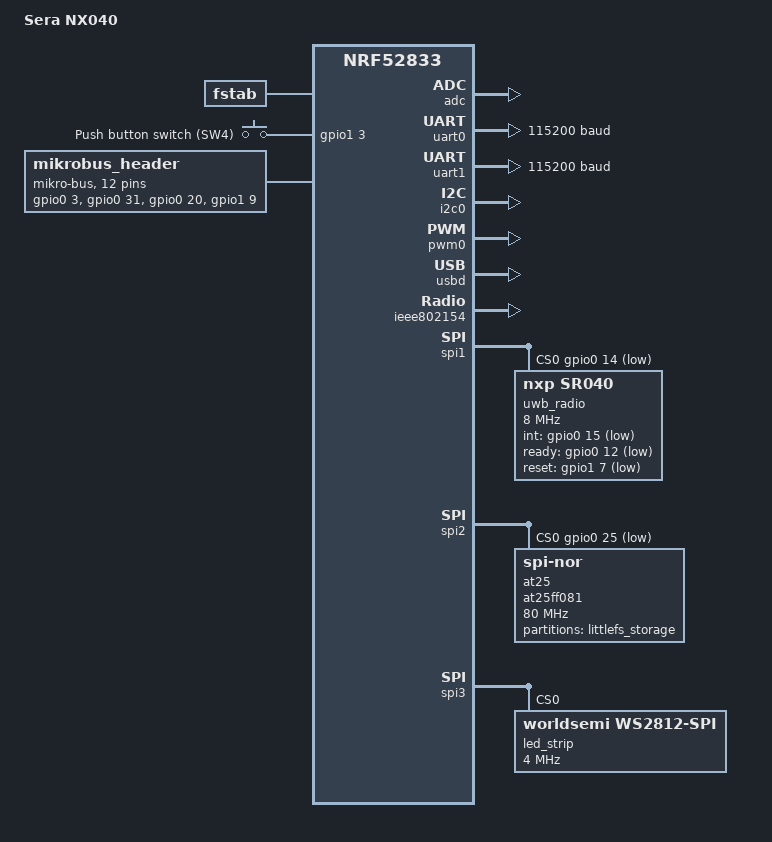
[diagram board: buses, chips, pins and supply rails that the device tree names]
/*
 * Copyright (c) 2020 Laird Connectivity
 *
 * SPDX-License-Identifier: Apache-2.0
 */

/dts-v1/;
#include <zephyr/dt-bindings/led/led.h>
#include <nordic/nrf52833_qiaa.dtsi>
#include "sera_nx040_dvk-pinctrl.dtsi"

/ {
	model = "Sera NX040";
	compatible = "ezurio,sera_nx040_dvk";

	chosen {
		zephyr,console = &uart0;
		zephyr,shell-uart = &uart0;
		zephyr,uart-mcumgr = &uart0;
		zephyr,bt-mon-uart = &uart0;
		zephyr,bt-c2h-uart = &uart0;
		zephyr,sram = &sram0;
		zephyr,flash = &flash0;
		zephyr,ieee802154 = &ieee802154;
		nordic,pm-ext-flash = &at25;
	};

	fstab {
		compatible = "zephyr,fstab";
		lfs1: lfs1 {
			compatible = "zephyr,fstab,littlefs";
			mount-point = "/lfs1";
			partition = <&littlefs_storage>;
			automount;
			read-size = <16>;
			prog-size = <16>;
			cache-size = <64>;
			lookahead-size = <32>;
			block-cycles = <512>;
		};
	};

	buttons {
		compatible = "gpio-keys";
		button1: button_1 {
			gpios = <&gpio1 3 0>;
			label = "Push button switch (SW4)";
		};
	};

	/* These aliases are provided for compatibility with samples */
	aliases {
		led-strip = &led_strip;
		mcuboot-button0 = &button1;
		watchdog0 = &wdt0;
	};

	mikrobus_header: mikrobus-connector {
		compatible = "mikro-bus";
		#gpio-cells = <2>;
		gpio-map-mask = <0xffffffff 0xffffffc0>;
		gpio-map-pass-thru = <0 0x3f>;
		/* Names in parenthesis are on the silkscreen next to their respective jumpers. */
		/* They are alternate signal configurations. */
		gpio-map =
		<0 0 &gpio0 3 0>,    /* AN  (GPIO 1) */
		<1 0 &gpio0 31 0>,   /* RST (GPIO 8) */
		<2 0 &gpio0 20 0>,   /* CS   */
		<3 0 &gpio1 9 0>,    /* SCK  */
		<4 0 &gpio0 21 0>,   /* MISO */
		<5 0 &gpio1 8 0>,    /* MOSI */
		/* 3.3V */
		/* GND  */
		<6 0 &gpio0 30 0>,   /* PWM (GPIO 3) */
		<7 0 &gpio0 29 0>,   /* INT (GPIO 2) */
		<8 0 &gpio0 11 0>,   /* UART RX */
		<9 0 &gpio0 16 0>,   /* UART TX */
		<10 0 &gpio0 26 0>,  /* SCL  */
		<11 0 &gpio0 27 0>;  /* SDA  */
		/* 5V   */
		/* GND  */
	};
};

&adc {
	status = "okay";
};

&gpiote {
	status = "okay";
};

&gpio0 {
	status = "okay";
};

&gpio1 {
	status = "okay";
};

&uart0 {
	compatible = "nordic,nrf-uarte";
	current-speed = <115200>;
	status = "okay";
	pinctrl-0 = <&uart0_default>;
	pinctrl-1 = <&uart0_sleep>;
	pinctrl-names = "default", "sleep";
};

&uart1 {
	compatible = "nordic,nrf-uarte";
	current-speed = <115200>;
	status = "okay";
	pinctrl-0 = <&uart1_default>;
	pinctrl-1 = <&uart1_sleep>;
	pinctrl-names = "default", "sleep";
};

&i2c0 {
	compatible = "nordic,nrf-twi";
	status = "okay";
	pinctrl-0 = <&i2c0_default>;
	pinctrl-1 = <&i2c0_sleep>;
	pinctrl-names = "default", "sleep";
};

&pwm0 {
	status = "okay";
	pinctrl-0 = <&pwm0_default>;
	pinctrl-1 = <&pwm0_sleep>;
	pinctrl-names = "default", "sleep";
};

&flash0 {
	partitions {
		compatible = "fixed-partitions";
		#address-cells = <1>;
		#size-cells = <1>;

		boot_partition: partition@0 {
			label = "mcuboot";
			reg = <0x00000000 0xB000>;
		};
	};
};

zephyr_udc0: &usbd {
	compatible = "nordic,nrf-usbd";
	status = "okay";
};

&ieee802154 {
	status = "okay";
};

/* SPI bus to UWB radio */
&spi1 {
	compatible = "nordic,nrf-spim";
	status = "okay";
	cs-gpios = <&gpio0 14 GPIO_ACTIVE_LOW>;
	pinctrl-0 = <&spi1_default>;
	pinctrl-1 = <&spi1_sleep>;
	pinctrl-names = "default", "sleep";
	uwb_radio: sr040@0 {
		compatible = "nxp,sr040";
		reg = <0>;
		spi-max-frequency = <8000000>;
		int-gpios = <&gpio0 15 GPIO_ACTIVE_LOW>;
		ready-gpios = <&gpio0 12 GPIO_ACTIVE_LOW>;
		reset-gpios = <&gpio1 7 GPIO_ACTIVE_LOW>;
	};
};


/* SPI bus to module SPI flash and external SPI pins */
&spi2 {
	compatible = "nordic,nrf-spim";
	status = "okay";
	cs-gpios = <&gpio0 25 GPIO_ACTIVE_LOW>, <&gpio0 20 GPIO_ACTIVE_LOW>;
	pinctrl-0 = <&spi2_default>;
	pinctrl-1 = <&spi2_sleep>;
	pinctrl-names = "default", "sleep";
	at25: at25ff081@0 {
		compatible = "jedec,spi-nor";
		reg = <0>;
		spi-max-frequency = <80000000>;
		size = <8388608>;
		has-dpd;
		t-enter-dpd = <10000>;
		t-exit-dpd = <35000>;
	};
};

&spi3 {
	compatible = "nordic,nrf-spim";
	status = "okay";
	pinctrl-0 = <&spi3_default>;
	pinctrl-1 = <&spi3_sleep>;
	pinctrl-names = "default", "sleep";
	led_strip: ws2812@0 {
		compatible = "worldsemi,ws2812-spi";
		status = "okay";

		/* SPI */
		reg = <0>; /* ignored, but necessary for SPI bindings */
		spi-max-frequency = <4000000>;

		/* WS2812 */
		chain-length = <16>;
		color-mapping = <LED_COLOR_ID_RED
			LED_COLOR_ID_GREEN
			LED_COLOR_ID_BLUE>;
		spi-one-frame = <0xf8>;
		spi-zero-frame = <0xc0>;
	};
};

&at25 {
	partitions {
		compatible = "fixed-partitions";
		#address-cells = <1>;
		#size-cells = <1>;

		littlefs_storage: partition@90000 {
			label = "littlefs_storage";
			reg = <0x00090000 0x00070000>;
		};
	};
};

&uicr {
	gpio-as-nreset;
};

&reg1 {
	regulator-initial-mode = <NRF5X_REG_MODE_DCDC>;
};
